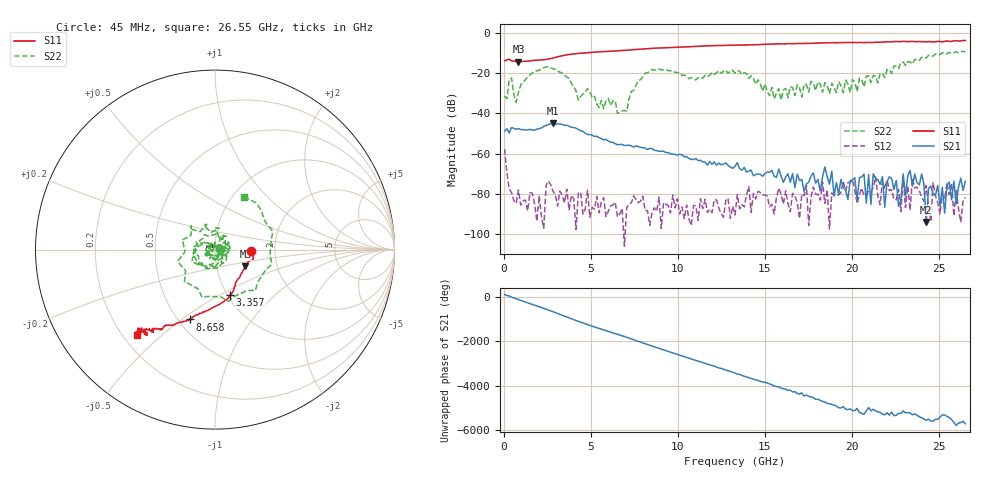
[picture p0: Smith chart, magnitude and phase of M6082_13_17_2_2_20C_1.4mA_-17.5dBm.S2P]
!  2-Port S-parameters saved by WinCal
! VAR MeasName=S-Parameters (CALIBRATED_DATA) read from VNA (C)
! VAR MeasDate=10/16/2015 1:38:22 PM
! VAR NAME=M6082_13_17_2_2_20C_1.4mA_-17.5dBm
! VAR FILENAME=M6082_13_17_2_2_20C_1.4mA_-17.5dBm.S2P
! VAR DATE=10/16/2015 1:38:22 PM
! VAR PHYS_PORTS=2,1
! VAR ObjTypeName=DATASET
! VAR IndexType=Frequency
# Hz S DB R 50
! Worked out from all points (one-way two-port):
!   201 points, 45 MHz to 26.55 GHz, reference 50 ohm
!   highest |S21| = -45.05 dB at 2.828 GHz (marker M1); lowest = -94.1 dB at 24.29 GHz (marker M2)
!   lowest |S11| = -14.3 dB at 840 MHz (marker M3), VSWR 1.48, Z = 68.9 - j13.2 ohm
!   |S11| at or under -10 dB: start of sweep to 4.626 GHz
!   |S22| runs from -40.1 to -9.2 dB; largest |S21 - S12| = 0.0057
!   S11 on the Smith chart (normalised r, x): 45 MHz: 1.50, -0.03; 3.357 GHz: 1.03, -0.56; 8.658 GHz: 0.57, -0.54; 26.55 GHz: 0.26, -0.42
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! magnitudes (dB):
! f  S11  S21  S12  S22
! 45 MHz  -13.9  -48.8  -57.8  -31.4
! 310 MHz  -13.1  -49.8  -77.6  -23.3
! 840 MHz  -14.3  -47.6  -78.2  -29.7
! 2.828 GHz  -12.6  -45.0  -78.8  -17.9
! 3.357 GHz  -11.4  -45.5  -80.8  -19.9
! 4.55 GHz  -10.1  -48.9  -90.1  -30.3
! 7.067 GHz  -8.7  -56.0  -87.0  -39.1
! 8.658 GHz  -7.7  -58.4  -87.0  -18.6
! 8.922 GHz  -7.6  -58.9  -81.7  -18.0
! 13.29 GHz  -6.1  -66.4  -90.5  -20.1
! 15.95 GHz  -5.5  -71.2  -80.4  -33.4
! 17.27 GHz  -5.3  -78.9  -81.0  -25.5
! 17.8 GHz  -5.2  -69.6  -76.6  -25.1
! 18.2 GHz  -5.1  -78.6  -83.1  -25.5
! 18.86 GHz  -4.9  -68.8  -79.6  -25.1
! 18.99 GHz  -4.9  -81.0  -81.0  -27.2
! 22.17 GHz  -4.5  -71.5  -78.5  -18.4
! 23.1 GHz  -4.3  -81.3  -87.0  -16.2
! 23.36 GHz  -4.3  -68.4  -88.2  -14.5
! 24.03 GHz  -4.4  -70.2  -81.8  -12.1
! 24.29 GHz  -4.5  -94.1  -75.9  -12.5
! 26.55 GHz  -3.8  -73.7  -81.8  -9.5
